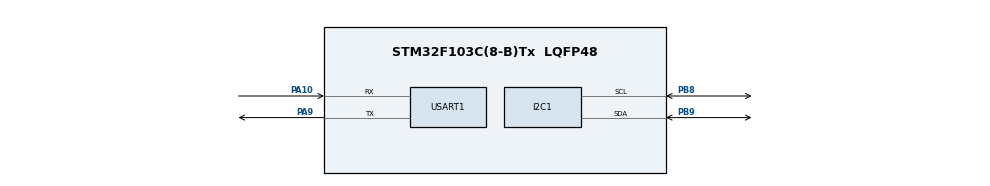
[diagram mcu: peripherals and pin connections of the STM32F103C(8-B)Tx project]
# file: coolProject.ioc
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Mcu.Family=STM32F1
Mcu.Name=STM32F103C(8-B)Tx
Mcu.Package=LQFP48
NVIC.PriorityGroup=NVIC_PRIORITYGROUP_4
NVIC.USART1_IRQn=true\:0\:0\:false\:false\:true\:true\:true
PA10.Mode=Asynchronous
PA10.Signal=USART1_RX
PA13.Mode=Serial_Wire
PA13.Signal=SYS_JTMS-SWDIO
PA14.Mode=Serial_Wire
PA14.Signal=SYS_JTCK-SWCLK
PA9.Mode=Asynchronous
PA9.Signal=USART1_TX
PB8.Mode=I2C
PB8.Signal=I2C1_SCL
PB9.Mode=I2C
PB9.Signal=I2C1_SDA
ProjectManager.HeapSize=0x200
ProjectManager.StackSize=0x400
ProjectManager.TargetToolchain=STM32CubeIDE
RCC.APB1Freq_Value=8000000
RCC.APB2Freq_Value=8000000
RCC.APB2TimFreq_Value=8000000
USART1.VirtualMode=VM_ASYNC
board=custom

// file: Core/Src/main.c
/* USER CODE BEGIN Header */
/**
  ******************************************************************************
  * @file           : main.c
  * @brief          : Main program body
  ******************************************************************************
  * @attention
  *
  * <h2><center>&copy; Copyright (c) 2020 STMicroelectronics.
  * All rights reserved.</center></h2>
  *
  * This software component is licensed by ST under BSD 3-Clause license,
  * the "License"; You may not use this file except in compliance with the
  * License. You may obtain a copy of the License at:
  *                        opensource.org/licenses/BSD-3-Clause
  *
  ******************************************************************************
  */
/* USER CODE END Header */
#include "main.h"
#include <string.h>

/* USER CODE BEGIN Includes */
#include "ssd1306.h"
/* USER CODE END Includes */

I2C_HandleTypeDef hi2c1;

UART_HandleTypeDef huart1;

void SystemClock_Config(void);
static void MX_GPIO_Init(void);
static void MX_USART1_UART_Init(void);
static void MX_I2C1_Init(void);
/* USER CODE BEGIN PFP */
void streamOut(char *);
/* USER CODE END PFP */

/* USER CODE BEGIN 0 */
void streamOut(char * data)
{
	ssd1306_Fill(0x00);
	ssd1306_SetCursor(30, 30);
	ssd1306_WriteString(data, Font_7x10, 0x01);
	ssd1306_UpdateScreen();
}
/* USER CODE END 0 */

int main(void)
{
  /* USER CODE BEGIN 1 */
	uint8_t buffer[10];
	int isUARTEnable = 1;
  /* USER CODE END 1 */

  /* MCU Configuration--------------------------------------------------------*/

  /* Reset of all peripherals, Initializes the Flash interface and the Systick. */
  HAL_Init();

  /* Configure the system clock */
  SystemClock_Config();

  /* Initialize all configured peripherals */
  MX_GPIO_Init();
  MX_USART1_UART_Init();
  MX_I2C1_Init();
  /* USER CODE BEGIN 2 */

  ssd1306_Init();
  ssd1306_SetCursor(30, 30);

  ssd1306_WriteString("HELLO", Font_7x10, 0x01);
  ssd1306_UpdateScreen();

  /* USER CODE END 2 */

  /* Infinite loop */
  while (1)
  {

    /* USER CODE BEGIN 3 */
	  if (isUARTEnable)
	  {
		  HAL_UART_Receive_IT(&huart1, buffer, 10);
		  isUARTEnable = 0;
	  }

	  // TODO: make a simple command system which makes the MCU put some values on screen

	  if (strlen((const char *) buffer) == 10)
	  {
		  streamOut((char *)buffer);
		  memset(buffer, 0, sizeof(buffer));

		  isUARTEnable = 1;
	  }
  }
  /* USER CODE END 3 */
}

void SystemClock_Config(void)
{
  RCC_OscInitTypeDef RCC_OscInitStruct = {0};
  RCC_ClkInitTypeDef RCC_ClkInitStruct = {0};

  /** Initializes the RCC Oscillators according to the specified parameters
  * in the RCC_OscInitTypeDef structure.
  */
  RCC_OscInitStruct.OscillatorType = RCC_OSCILLATORTYPE_HSI;
  RCC_OscInitStruct.HSIState = RCC_HSI_ON;
  RCC_OscInitStruct.HSICalibrationValue = RCC_HSICALIBRATION_DEFAULT;
  RCC_OscInitStruct.PLL.PLLState = RCC_PLL_NONE;
  if (HAL_RCC_OscConfig(&RCC_OscInitStruct) != HAL_OK)
  {
    Error_Handler();
  }
  /** Initializes the CPU, AHB and APB buses clocks
  */
  RCC_ClkInitStruct.ClockType = RCC_CLOCKTYPE_HCLK|RCC_CLOCKTYPE_SYSCLK
                              |RCC_CLOCKTYPE_PCLK1|RCC_CLOCKTYPE_PCLK2;
  RCC_ClkInitStruct.SYSCLKSource = RCC_SYSCLKSOURCE_HSI;
  RCC_ClkInitStruct.AHBCLKDivider = RCC_SYSCLK_DIV1;
  RCC_ClkInitStruct.APB1CLKDivider = RCC_HCLK_DIV1;
  RCC_ClkInitStruct.APB2CLKDivider = RCC_HCLK_DIV1;

  if (HAL_RCC_ClockConfig(&RCC_ClkInitStruct, FLASH_LATENCY_0) != HAL_OK)
  {
    Error_Handler();
  }
}

static void MX_I2C1_Init(void)
{

  hi2c1.Instance = I2C1;
  hi2c1.Init.ClockSpeed = 100000;
  hi2c1.Init.DutyCycle = I2C_DUTYCYCLE_2;
  hi2c1.Init.OwnAddress1 = 0;
  hi2c1.Init.AddressingMode = I2C_ADDRESSINGMODE_7BIT;
  hi2c1.Init.DualAddressMode = I2C_DUALADDRESS_DISABLE;
  hi2c1.Init.OwnAddress2 = 0;
  hi2c1.Init.GeneralCallMode = I2C_GENERALCALL_DISABLE;
  hi2c1.Init.NoStretchMode = I2C_NOSTRETCH_DISABLE;
  if (HAL_I2C_Init(&hi2c1) != HAL_OK)
  {
    Error_Handler();
  }

}

static void MX_USART1_UART_Init(void)
{

  huart1.Instance = USART1;
  huart1.Init.BaudRate = 115200;
  huart1.Init.WordLength = UART_WORDLENGTH_8B;
  huart1.Init.StopBits = UART_STOPBITS_1;
  huart1.Init.Parity = UART_PARITY_NONE;
  huart1.Init.Mode = UART_MODE_TX_RX;
  huart1.Init.HwFlowCtl = UART_HWCONTROL_NONE;
  huart1.Init.OverSampling = UART_OVERSAMPLING_16;
  if (HAL_UART_Init(&huart1) != HAL_OK)
  {
    Error_Handler();
  }

}

static void MX_GPIO_Init(void)
{

  /* GPIO Ports Clock Enable */
  __HAL_RCC_GPIOA_CLK_ENABLE();
  __HAL_RCC_GPIOB_CLK_ENABLE();

}

/* USER CODE BEGIN 4 */
void HAL_UARTRxCpltCallback(UART_HandleTypeDef *huart)
{
	__NOP();
}

void HAL_UARTTxCpltCallback(UART_HandleTypeDef *huart)
{
	__NOP();
}
/* USER CODE END 4 */

void Error_Handler(void)
{
}

/************************ (C) COPYRIGHT STMicroelectronics *****END OF FILE****/
